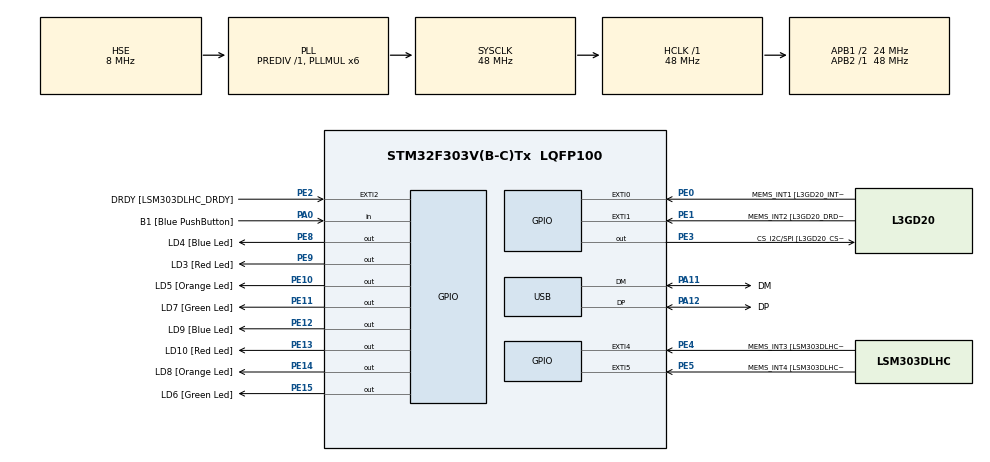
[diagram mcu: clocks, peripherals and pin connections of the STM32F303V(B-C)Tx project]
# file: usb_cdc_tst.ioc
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Mcu.Family=STM32F3
Mcu.Name=STM32F303V(B-C)Tx
Mcu.Package=LQFP100
NVIC.PriorityGroup=NVIC_PRIORITYGROUP_0
NVIC.USB_LP_CAN_RX0_IRQn=true\:0\:0\:false
PA0.GPIO_Label=B1 [Blue PushButton]
PA0.GPIO_Mode=GPIO_MODE_INPUT
PA0.GPIO_PuPd=GPIO_NOPULL
PA0.Signal=GPIO_Input
PA11.GPIO_Label=DM
PA11.Mode=Device
PA11.Signal=USB_DM
PA12.GPIO_Label=DP
PA12.Mode=Device
PA12.Signal=USB_DP
PA13.GPIO_Label=SWDIO
PA13.Mode=Trace-Asynchronous_SW
PA13.Signal=SYS_JTMS-SWDIO
PA14.GPIO_Label=SWCLK
PA14.Mode=Trace-Asynchronous_SW
PA14.Signal=SYS_JTCK-SWCLK
PA5.GPIO_Label=SPI1_SCK [L3GD20_SCL/SPC]
PA5.GPIO_Mode=GPIO_MODE_AF_PP
PA5.GPIO_PuPd=GPIO_NOPULL
PA5.GPIO_Speed=GPIO_SPEED_LOW
PA5.Signal=SPI1_SCK
PA6.GPIO_Label=SPI1_MISO [L3GD20_SA0/SDO]
PA6.GPIO_Mode=GPIO_MODE_AF_PP
PA6.GPIO_PuPd=GPIO_NOPULL
PA6.GPIO_Speed=GPIO_SPEED_LOW
PA6.Signal=SPI1_MISO
PA7.GPIO_Label=SPI1_MISO [L3GD20_SDA/SDI/SDO]
PA7.GPIO_Mode=GPIO_MODE_AF_PP
PA7.GPIO_PuPd=GPIO_NOPULL
PA7.GPIO_Speed=GPIO_SPEED_LOW
PA7.Signal=SPI1_MOSI
PB3.GPIO_Label=SWO
PB3.Mode=Trace-Asynchronous_SW
PB3.Signal=SYS_JTDO-TRACESWO
PB6.GPIO_FM6=__NULL
PB6.GPIO_Label=I2C1_SCL [LSM303DLHC_SCL]
PB6.GPIO_Mode=GPIO_MODE_AF_OD
PB6.GPIO_PuPd=GPIO_NOPULL
PB6.GPIO_Speed=GPIO_SPEED_LOW
PB6.Signal=I2C1_SCL
PB7.GPIO_FM7=__NULL
PB7.GPIO_Label=I2C1_SDA [LSM303DLHC_SDA]
PB7.GPIO_Mode=GPIO_MODE_AF_OD
PB7.GPIO_PuPd=GPIO_NOPULL
PB7.GPIO_Speed=GPIO_SPEED_LOW
PB7.Signal=I2C1_SDA
PC14-OSC32_IN.GPIO_Label=OSC32_IN
PC14-OSC32_IN.Signal=RCC_OSC32_IN
PC15-OSC32_OUT.GPIO_Label=OSC32_OUT
PC15-OSC32_OUT.Signal=RCC_OSC32_OUT
PE0.GPIO_Label=MEMS_INT1 [L3GD20_INT1]
PE0.GPIO_ModeDefaultEXTI=GPIO_MODE_EVT_RISING
PE0.GPIO_PuPd=GPIO_NOPULL
PE0.Signal=GPXTI0
PE1.GPIO_Label=MEMS_INT2 [L3GD20_DRDY/INT2]
PE1.GPIO_ModeDefaultEXTI=GPIO_MODE_EVT_RISING
PE1.GPIO_PuPd=GPIO_NOPULL
PE1.Signal=GPXTI1
PE10.GPIO_Label=LD5 [Orange Led]
PE10.GPIO_ModeDefaultOutputPP=GPIO_MODE_OUTPUT_PP
PE10.GPIO_PuPd=GPIO_NOPULL
PE10.GPIO_Speed=GPIO_SPEED_LOW
PE10.Signal=GPIO_Output
PE11.GPIO_Label=LD7 [Green Led]
PE11.GPIO_ModeDefaultOutputPP=GPIO_MODE_OUTPUT_PP
PE11.GPIO_PuPd=GPIO_NOPULL
PE11.GPIO_Speed=GPIO_SPEED_LOW
PE11.Signal=GPIO_Output
PE12.GPIO_Label=LD9 [Blue Led]
PE12.GPIO_ModeDefaultOutputPP=GPIO_MODE_OUTPUT_PP
PE12.GPIO_PuPd=GPIO_NOPULL
PE12.GPIO_Speed=GPIO_SPEED_LOW
PE12.Signal=GPIO_Output
PE13.GPIO_Label=LD10 [Red Led]
PE13.GPIO_ModeDefaultOutputPP=GPIO_MODE_OUTPUT_PP
PE13.GPIO_PuPd=GPIO_NOPULL
PE13.GPIO_Speed=GPIO_SPEED_LOW
PE13.Signal=GPIO_Output
PE14.GPIO_Label=LD8 [Orange Led]
PE14.GPIO_ModeDefaultOutputPP=GPIO_MODE_OUTPUT_PP
PE14.GPIO_PuPd=GPIO_NOPULL
PE14.GPIO_Speed=GPIO_SPEED_LOW
PE14.Signal=GPIO_Output
PE15.GPIO_Label=LD6 [Green Led]
PE15.GPIO_ModeDefaultOutputPP=GPIO_MODE_OUTPUT_PP
PE15.GPIO_PuPd=GPIO_NOPULL
PE15.GPIO_Speed=GPIO_SPEED_LOW
PE15.Signal=GPIO_Output
PE2.GPIO_Label=DRDY [LSM303DLHC_DRDY]
PE2.GPIO_ModeDefaultEXTI=GPIO_MODE_EVT_RISING
PE2.GPIO_PuPd=GPIO_NOPULL
PE2.Signal=GPXTI2
PE3.GPIO_Label=CS_I2C/SPI [L3GD20_CS_I2C/SPI]
PE3.GPIO_ModeDefaultOutputPP=GPIO_MODE_OUTPUT_PP
PE3.GPIO_PuPd=GPIO_NOPULL
PE3.GPIO_Speed=GPIO_SPEED_LOW
PE3.Signal=GPIO_Output
PE4.GPIO_Label=MEMS_INT3 [LSM303DLHC_INT1]
PE4.GPIO_ModeDefaultEXTI=GPIO_MODE_EVT_RISING
PE4.GPIO_PuPd=GPIO_NOPULL
PE4.Signal=GPXTI4
PE5.GPIO_Label=MEMS_INT4 [LSM303DLHC_INT2]
PE5.GPIO_ModeDefaultEXTI=GPIO_MODE_EVT_RISING
PE5.GPIO_PuPd=GPIO_NOPULL
PE5.Signal=GPXTI5
PE8.GPIO_Label=LD4 [Blue Led]
PE8.GPIO_ModeDefaultOutputPP=GPIO_MODE_OUTPUT_PP
PE8.GPIO_PuPd=GPIO_NOPULL
PE8.GPIO_Speed=GPIO_SPEED_LOW
PE8.Signal=GPIO_Output
PE9.GPIO_Label=LD3 [Red Led]
PE9.GPIO_ModeDefaultOutputPP=GPIO_MODE_OUTPUT_PP
PE9.GPIO_PuPd=GPIO_NOPULL
PE9.GPIO_Speed=GPIO_SPEED_LOW
PE9.Signal=GPIO_Output
PF0-OSC_IN.GPIO_Label=OSC_IN
PF0-OSC_IN.Mode=HSE-External-Oscillator
PF0-OSC_IN.Signal=RCC_OSC_IN
PF1-OSC_OUT.GPIO_Label=OSC_OUT
PF1-OSC_OUT.Mode=HSE-External-Oscillator
PF1-OSC_OUT.Signal=RCC_OSC_OUT
ProjectManager.TargetToolchain=TrueSTUDIO
RCC.AHBFreq_Value=48000000
RCC.APB1CLKDivider=RCC_HCLK_DIV2
RCC.APB1Freq_Value=24000000
RCC.APB1TimFreq_Value=48000000
RCC.APB2Freq_Value=48000000
RCC.APB2TimFreq_Value=48000000
RCC.CortexFreq_Value=48000000
RCC.HCLKFreq_Value=48000000
RCC.HSE_VALUE=8000000
RCC.HSIState=RCC_HSI_ON
RCC.HSI_VALUE=8000000
RCC.LSE_VALUE=32768
RCC.PLLMUL=RCC_PLL_MUL6
RCC.SYSCLKFreq_VALUE=48000000
RCC.SYSCLKSourceVirtual=RCC_SYSCLKSOURCE_PLLCLK
RCC.USBFreq_Value=48000000
USB_DEVICE.USBD_HandleTypeDef=hUsbDeviceFS
USB_DEVICE.VirtualMode=Cdc
USB_DEVICE.VirtualModeFS=Cdc_FS
VP_USB_DEVICE_VS_USB_DEVICE_CDC_FS.Mode=CDC_FS
board=STM32F3DISCOVERY

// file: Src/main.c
/**
  ******************************************************************************
  * File Name          : main.c
  * Description        : Main program body
  ******************************************************************************
  *
  * COPYRIGHT(c) 2015 STMicroelectronics
  *
  * Redistribution and use in source and binary forms, with or without modification,
  * are permitted provided that the following conditions are met:
  *   1. Redistributions of source code must retain the above copyright notice,
  *      this list of conditions and the following disclaimer.
  *   2. Redistributions in binary form must reproduce the above copyright notice,
  *      this list of conditions and the following disclaimer in the documentation
  *      and/or other materials provided with the distribution.
  *   3. Neither the name of STMicroelectronics nor the names of its contributors
  *      may be used to endorse or promote products derived from this software
  *      without specific prior written permission.
  *
  * THIS SOFTWARE IS PROVIDED BY THE COPYRIGHT HOLDERS AND CONTRIBUTORS "AS IS"
  * AND ANY EXPRESS OR IMPLIED WARRANTIES, INCLUDING, BUT NOT LIMITED TO, THE
  * IMPLIED WARRANTIES OF MERCHANTABILITY AND FITNESS FOR A PARTICULAR PURPOSE ARE
  * DISCLAIMED. IN NO EVENT SHALL THE COPYRIGHT HOLDER OR CONTRIBUTORS BE LIABLE
  * FOR ANY DIRECT, INDIRECT, INCIDENTAL, SPECIAL, EXEMPLARY, OR CONSEQUENTIAL
  * DAMAGES (INCLUDING, BUT NOT LIMITED TO, PROCUREMENT OF SUBSTITUTE GOODS OR
  * SERVICES; LOSS OF USE, DATA, OR PROFITS; OR BUSINESS INTERRUPTION) HOWEVER
  * CAUSED AND ON ANY THEORY OF LIABILITY, WHETHER IN CONTRACT, STRICT LIABILITY,
  * OR TORT (INCLUDING NEGLIGENCE OR OTHERWISE) ARISING IN ANY WAY OUT OF THE USE
  * OF THIS SOFTWARE, EVEN IF ADVISED OF THE POSSIBILITY OF SUCH DAMAGE.
  *
  ******************************************************************************
  */
#include "stm32f3xx_hal.h"
#include "stm32f3_discovery.h"
#include "usb_device.h"

/* USER CODE BEGIN Includes */
#include "usbd_cdc_if.h"
/* USER CODE END Includes */

/* USER CODE BEGIN PV */
/* Private variables ---------------------------------------------------------*/
/* Send Data over USB CDC are stored in this buffer       */
uint8_t USB_TxBufferFS[63] = "USER button pressed\n\r";

/* USER CODE END PV */

void SystemClock_Config(void);
static void MX_GPIO_Init(void);

/* USER CODE BEGIN PFP */
/* Private function prototypes -----------------------------------------------*/

/* USER CODE END PFP */

int main(void)
{

  /* USER CODE BEGIN 1 */
	USBD_StatusTypeDef result = USBD_OK;
	uint32_t userSw_old = 0;
  /* USER CODE END 1 */

  /* MCU Configuration----------------------------------------------------------*/

  /* Reset of all peripherals, Initializes the Flash interface and the Systick. */
  HAL_Init();

  /* Configure the system clock */
  SystemClock_Config();

  /* Initialize all configured peripherals */
  MX_GPIO_Init();
  MX_USB_DEVICE_Init();

  /* USER CODE BEGIN 2 */
  BSP_LED_Init(LED3);
  BSP_LED_Init(LED4);
  BSP_PB_Init(BUTTON_USER, BUTTON_MODE_GPIO);

  userSw_old = BSP_PB_GetState(BUTTON_USER);
  /* USER CODE END 2 */

  /* Infinite loop */
  while (1)
  {
  /* USER CODE BEGIN 3 */
	  HAL_Delay(40);
	  BSP_LED_Toggle(LED4);

	  if ((BSP_PB_GetState(BUTTON_USER) == GPIO_PIN_SET) && (userSw_old == GPIO_PIN_RESET))
	  {
		  result = CDC_Transmit_FS(USB_TxBufferFS, sizeof(USB_TxBufferFS));
	  }
	  userSw_old = BSP_PB_GetState(BUTTON_USER);

	  /* USB Error */
	  if (result != USBD_OK)
	  {
		  while (1)
		  {
			  BSP_LED_On(LED3);
			  HAL_Delay(100);
		  }
	  }
  }
  /* USER CODE END 3 */

}

/** System Clock Configuration
*/
void SystemClock_Config(void)
{

  RCC_OscInitTypeDef RCC_OscInitStruct;
  RCC_ClkInitTypeDef RCC_ClkInitStruct;
  RCC_PeriphCLKInitTypeDef PeriphClkInit;

  RCC_OscInitStruct.OscillatorType = RCC_OSCILLATORTYPE_HSE;
  RCC_OscInitStruct.HSEState = RCC_HSE_ON;
  RCC_OscInitStruct.HSEPredivValue = RCC_HSE_PREDIV_DIV1;
  RCC_OscInitStruct.PLL.PLLState = RCC_PLL_ON;
  RCC_OscInitStruct.PLL.PLLSource = RCC_PLLSOURCE_HSE;
  RCC_OscInitStruct.PLL.PLLMUL = RCC_PLL_MUL6;
  HAL_RCC_OscConfig(&RCC_OscInitStruct);

  RCC_ClkInitStruct.ClockType = RCC_CLOCKTYPE_SYSCLK|RCC_CLOCKTYPE_PCLK1;
  RCC_ClkInitStruct.SYSCLKSource = RCC_SYSCLKSOURCE_PLLCLK;
  RCC_ClkInitStruct.AHBCLKDivider = RCC_SYSCLK_DIV1;
  RCC_ClkInitStruct.APB1CLKDivider = RCC_HCLK_DIV2;
  RCC_ClkInitStruct.APB2CLKDivider = RCC_HCLK_DIV1;
  HAL_RCC_ClockConfig(&RCC_ClkInitStruct, FLASH_LATENCY_1);

  PeriphClkInit.PeriphClockSelection = RCC_PERIPHCLK_USB;
  PeriphClkInit.USBClockSelection = RCC_USBPLLCLK_DIV1;
  HAL_RCCEx_PeriphCLKConfig(&PeriphClkInit);

  HAL_SYSTICK_Config(HAL_RCC_GetHCLKFreq()/1000);

  HAL_SYSTICK_CLKSourceConfig(SYSTICK_CLKSOURCE_HCLK);

  /* SysTick_IRQn interrupt configuration */
  HAL_NVIC_SetPriority(SysTick_IRQn, 0, 0);
}

/** Configure pins as
        * Analog
        * Input
        * Output
        * EVENT_OUT
        * EXTI
     PA5   ------> SPI1_SCK
     PA6   ------> SPI1_MISO
     PA7   ------> SPI1_MOSI
     PB6   ------> I2C1_SCL
     PB7   ------> I2C1_SDA
*/
void MX_GPIO_Init(void)
{

  GPIO_InitTypeDef GPIO_InitStruct;

  /* GPIO Ports Clock Enable */
  __GPIOE_CLK_ENABLE();
  __GPIOC_CLK_ENABLE();
  __GPIOF_CLK_ENABLE();
  __GPIOA_CLK_ENABLE();
  __GPIOB_CLK_ENABLE();

  /*Configure GPIO pins : DRDY_Pin MEMS_INT3_Pin MEMS_INT4_Pin MEMS_INT1_Pin
                           MEMS_INT2_Pin */
  GPIO_InitStruct.Pin = DRDY_Pin|MEMS_INT3_Pin|MEMS_INT4_Pin|MEMS_INT1_Pin
                          |MEMS_INT2_Pin;
  GPIO_InitStruct.Mode = GPIO_MODE_EVT_RISING;
  GPIO_InitStruct.Pull = GPIO_NOPULL;
  HAL_GPIO_Init(GPIOE, &GPIO_InitStruct);

  /*Configure GPIO pins : CS_I2C_SPI_Pin LD4_Pin LD3_Pin LD5_Pin
                           LD7_Pin LD9_Pin LD10_Pin LD8_Pin
                           LD6_Pin */
  GPIO_InitStruct.Pin = CS_I2C_SPI_Pin|LD4_Pin|LD3_Pin|LD5_Pin
                          |LD7_Pin|LD9_Pin|LD10_Pin|LD8_Pin
                          |LD6_Pin;
  GPIO_InitStruct.Mode = GPIO_MODE_OUTPUT_PP;
  GPIO_InitStruct.Pull = GPIO_NOPULL;
  GPIO_InitStruct.Speed = GPIO_SPEED_LOW;
  HAL_GPIO_Init(GPIOE, &GPIO_InitStruct);

  /*Configure GPIO pin : B1_Pin */
  GPIO_InitStruct.Pin = B1_Pin;
  GPIO_InitStruct.Mode = GPIO_MODE_INPUT;
  GPIO_InitStruct.Pull = GPIO_NOPULL;
  HAL_GPIO_Init(B1_GPIO_Port, &GPIO_InitStruct);

  /*Configure GPIO pins : PA5 PA6 SPI1_MISO_Pin */
  GPIO_InitStruct.Pin = GPIO_PIN_5|GPIO_PIN_6|SPI1_MISO_Pin;
  GPIO_InitStruct.Mode = GPIO_MODE_AF_PP;
  GPIO_InitStruct.Pull = GPIO_NOPULL;
  GPIO_InitStruct.Speed = GPIO_SPEED_LOW;
  GPIO_InitStruct.Alternate = GPIO_AF5_SPI1;
  HAL_GPIO_Init(GPIOA, &GPIO_InitStruct);

  /*Configure GPIO pins : PB6 PB7 */
  GPIO_InitStruct.Pin = GPIO_PIN_6|GPIO_PIN_7;
  GPIO_InitStruct.Mode = GPIO_MODE_AF_OD;
  GPIO_InitStruct.Pull = GPIO_PULLUP;
  GPIO_InitStruct.Speed = GPIO_SPEED_LOW;
  GPIO_InitStruct.Alternate = GPIO_AF4_I2C1;
  HAL_GPIO_Init(GPIOB, &GPIO_InitStruct);

}

/************************ (C) COPYRIGHT STMicroelectronics *****END OF FILE****/
